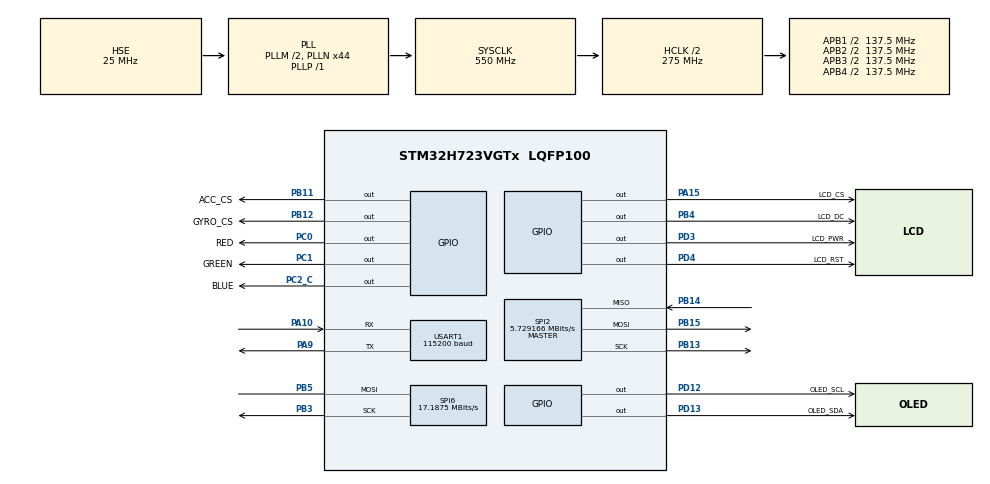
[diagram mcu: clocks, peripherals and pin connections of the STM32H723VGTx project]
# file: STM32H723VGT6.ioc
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CORTEX_M7.CPU_DCache=Enabled
CORTEX_M7.CPU_ICache=Enabled
FREERTOS.Tasks01=defaultTask,24,128,StartDefaultTask,Default,NULL,Dynamic,NULL,NULL
FREERTOS.configENABLE_FPU=1
FREERTOS.configTICK_RATE_HZ=1000
FREERTOS.configTOTAL_HEAP_SIZE=30720
Mcu.Family=STM32H7
Mcu.Name=STM32H723VGTx
Mcu.Package=LQFP100
NVIC.PriorityGroup=NVIC_PRIORITYGROUP_4
NVIC.SPI2_IRQn=true\:5\:0\:false\:false\:true\:true\:true\:true\:true
NVIC.TIM1_UP_IRQn=true\:15\:0\:false\:false\:true\:false\:false\:true\:true
NVIC.TimeBase=TIM1_UP_IRQn
NVIC.TimeBaseIP=TIM1
NVIC.USART1_IRQn=true\:5\:0\:false\:false\:true\:true\:true\:true\:true
PA10.Mode=Asynchronous
PA10.Signal=USART1_RX
PA13(JTMS/SWDIO).Mode=Serial_Wire
PA13(JTMS/SWDIO).Signal=DEBUG_JTMS-SWDIO
PA14(JTCK/SWCLK).Mode=Serial_Wire
PA14(JTCK/SWCLK).Signal=DEBUG_JTCK-SWCLK
PA15(JTDI).GPIO_Label=LCD_CS
PA15(JTDI).GPIO_PuPd=GPIO_PULLUP
PA15(JTDI).Signal=GPIO_Output
PA9.Mode=Asynchronous
PA9.Signal=USART1_TX
PB11.GPIO_Label=ACC_CS
PB11.GPIO_Speed=GPIO_SPEED_FREQ_VERY_HIGH
PB11.PinState=GPIO_PIN_SET
PB11.Signal=GPIO_Output
PB12.GPIO_Label=GYRO_CS
PB12.GPIO_Speed=GPIO_SPEED_FREQ_VERY_HIGH
PB12.PinState=GPIO_PIN_SET
PB12.Signal=GPIO_Output
PB13.GPIO_Speed=GPIO_SPEED_FREQ_VERY_HIGH
PB13.Mode=Full_Duplex_Master
PB13.Signal=SPI2_SCK
PB14.GPIO_Speed=GPIO_SPEED_FREQ_VERY_HIGH
PB14.Mode=Full_Duplex_Master
PB14.Signal=SPI2_MISO
PB15.GPIO_Speed=GPIO_SPEED_FREQ_VERY_HIGH
PB15.Mode=Full_Duplex_Master
PB15.Signal=SPI2_MOSI
PB3(JTDO/TRACESWO).Mode=Simplex_Bidirectional_Master
PB3(JTDO/TRACESWO).Signal=SPI6_SCK
PB4(NJTRST).GPIO_Label=LCD_DC
PB4(NJTRST).GPIO_PuPd=GPIO_PULLUP
PB4(NJTRST).Signal=GPIO_Output
PB5.Mode=Simplex_Bidirectional_Master
PB5.Signal=SPI6_MOSI
PC0.GPIO_Label=RED
PC0.GPIO_PuPd=GPIO_PULLUP
PC0.PinState=GPIO_PIN_SET
PC0.Signal=GPIO_Output
PC1.GPIO_Label=GREEN
PC1.GPIO_PuPd=GPIO_PULLUP
PC1.PinState=GPIO_PIN_SET
PC1.Signal=GPIO_Output
PC2_C.GPIO_Label=BLUE
PC2_C.GPIO_PuPd=GPIO_PULLUP
PC2_C.PinState=GPIO_PIN_SET
PC2_C.Signal=GPIO_Output
PD12.GPIO_Label=OLED_SCL
PD12.GPIO_PuPd=GPIO_PULLUP
PD12.GPIO_Speed=GPIO_SPEED_FREQ_HIGH
PD12.Signal=GPIO_Output
PD13.GPIO_Label=OLED_SDA
PD13.GPIO_PuPd=GPIO_PULLUP
PD13.GPIO_Speed=GPIO_SPEED_FREQ_HIGH
PD13.Signal=GPIO_Output
PD3.GPIO_Label=LCD_PWR
PD3.GPIO_PuPd=GPIO_PULLUP
PD3.Signal=GPIO_Output
PD4.GPIO_Label=LCD_RST
PD4.GPIO_PuPd=GPIO_PULLUP
PD4.Signal=GPIO_Output
PH0-OSC_IN.Mode=HSE-External-Oscillator
PH0-OSC_IN.Signal=RCC_OSC_IN
PH1-OSC_OUT.Mode=HSE-External-Oscillator
PH1-OSC_OUT.Signal=RCC_OSC_OUT
ProjectManager.HeapSize=0x800
ProjectManager.StackSize=0x800
ProjectManager.TargetToolchain=MDK-ARM V5
RCC.ADCFreq_Value=275000000
RCC.APB1Freq_Value=137500000
RCC.APB2Freq_Value=137500000
RCC.APB3Freq_Value=137500000
RCC.APB4Freq_Value=137500000
RCC.CortexFreq_Value=550000000
RCC.D1PPRE=RCC_APB3_DIV2
RCC.D2PPRE1=RCC_APB1_DIV2
RCC.D2PPRE2=RCC_APB2_DIV2
RCC.D3PPRE=RCC_APB4_DIV2
RCC.DIVM1=2
RCC.DIVM2=2
RCC.DIVM3=2
RCC.DIVN1=44
RCC.DIVN2=44
RCC.DIVN3=44
RCC.DIVP1=1
RCC.DIVQ1=3
RCC.HCLKFreq_Value=275000000
RCC.HPRE=RCC_HCLK_DIV2
RCC.HSEState-ClockTree=RCC_HSE_BYPASS
RCC.HSE_VALUE=25000000
RCC.MCO2I2SEnable-ClockTree=true
RCC.PLL2FRACN=0
RCC.PLL3FRACN=0
RCC.PLL3_VCI_Range-AdvancedSettings=RCC_PLL3VCIRANGE_0
RCC.PLL3_VCO_SEL-AdvancedSettings=RCC_PLL3VCOMEDIUM
RCC.PLLFRACN=0
RCC.PLLSourceVirtual=RCC_PLLSOURCE_HSE
RCC.SYSCLKFreq_VALUE=550000000
RCC.SYSCLKSource=RCC_SYSCLKSOURCE_PLLCLK
RCC.USBFreq_Value=183333333.33333334
SPI2.BaudRatePrescaler=SPI_BAUDRATEPRESCALER_32
SPI2.CLKPhase=SPI_PHASE_2EDGE
SPI2.CLKPolarity=SPI_POLARITY_HIGH
SPI2.CalculateBaudRate=5.729166 MBits/s
SPI2.DataSize=SPI_DATASIZE_8BIT
SPI2.Direction=SPI_DIRECTION_2LINES
SPI2.Mode=SPI_MODE_MASTER
SPI2.VirtualType=VM_MASTER
SPI6.BaudRatePrescaler=SPI_BAUDRATEPRESCALER_8
SPI6.CLKPhase=SPI_PHASE_2EDGE
SPI6.CLKPolarity=SPI_POLARITY_HIGH
SPI6.CalculateBaudRate=17.1875 MBits/s
SPI6.DataSize=SPI_DATASIZE_8BIT
SPI6.Direction=SPI_DIRECTION_1LINE
SPI6.Mode=SPI_MODE_MASTER
SPI6.VirtualType=VM_MASTER
USART1.BaudRate=115200
USART1.FIFOMode=FIFOMODE_ENABLE
USART1.VirtualMode-Asynchronous=VM_ASYNC
VP_FREERTOS_VS_CMSIS_V2.Mode=CMSIS_V2
VP_MEMORYMAP_VS_MEMORYMAP.Mode=CurAppReg
VP_SYS_VS_tim1.Mode=TIM1
board=custom

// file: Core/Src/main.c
/* USER CODE BEGIN Header */
/**
  ******************************************************************************
  * @file           : main.c
  * @brief          : Main program body
  ******************************************************************************
  * @attention
  *
  * Copyright (c) 2022 STMicroelectronics.
  * All rights reserved.
  *
  * This software is licensed under terms that can be found in the LICENSE file
  * in the root directory of this software component.
  * If no LICENSE file comes with this software, it is provided AS-IS.
  *
  ******************************************************************************
  */
/* USER CODE END Header */
#include "main.h"
#include "cmsis_os.h"
#include "spi.h"
#include "usart.h"
#include "gpio.h"

/* USER CODE BEGIN Includes */
#include "Headfile.h"
/* USER CODE END Includes */

void SystemClock_Config(void);
void MX_FREERTOS_Init(void);

/* USER CODE BEGIN 0 */
static uint16_t line_buffer[320];

lcd_io lcd_io_desc = {
    .spi = &hspi6,
    .rst = {LCD_RST_GPIO_Port, LCD_RST_Pin, 0},
    .bl  = {LCD_PWR_GPIO_Port, LCD_PWR_Pin, 1},
    .cs  = {LCD_CS_GPIO_Port,  LCD_CS_Pin,  0},
    .dc  = {LCD_DC_GPIO_Port,  LCD_DC_Pin,  0},
    .te  = { /* TE */ }
};

lcd lcd_desc = {
    .io = &lcd_io_desc,
    .line_buffer = line_buffer,
};

float gyro[3], accel[3], temp;
/* USER CODE END 0 */

int main(void)
{

  /* Enable the CPU Cache */

  /* Enable I-Cache---------------------------------------------------------*/
  SCB_EnableICache();

  /* Enable D-Cache---------------------------------------------------------*/
  SCB_EnableDCache();

  /* MCU Configuration--------------------------------------------------------*/

  /* Reset of all peripherals, Initializes the Flash interface and the Systick. */
  HAL_Init();

  /* Configure the system clock */
  SystemClock_Config();

  /* Initialize all configured peripherals */
  MX_GPIO_Init();
  MX_SPI6_Init();
  MX_USART1_UART_Init();
  MX_SPI2_Init();
  /* USER CODE BEGIN 2 */
  OLED_Init();
  lcd_init_dev(&lcd_desc, LCD_1_47_INCH, LCD_ROTATE_90);
  UsartInit();
	uart_send_char('a');
	uart_send_string("asd");
	uart_printf(000);
  lcd_print(&lcd_desc, 0, 20, "> Boring_TECH");
  lcd_print(&lcd_desc, 0, 40, "> IPS LCD 1.47inch 320x172");
  lcd_print(&lcd_desc, 0, 60, "> STM32H723VGT6");
  lcd_print(&lcd_desc, 0, 80, "> 2024/4/1");
			while(BMI088_init())
		{
				;
		}
	BMI088_read(gyro, accel, &temp);
		uart_printf(gyro[0]);
  /* USER CODE END 2 */

  /* Init scheduler */
  osKernelInitialize();  /* Call init function for freertos objects (in cmsis_os2.c) */
  MX_FREERTOS_Init();

  /* Start scheduler */
  osKernelStart();

  /* We should never get here as control is now taken by the scheduler */

  /* Infinite loop */
  /* USER CODE BEGIN WHILE */
  while (1)
  {
    /* FreeRTOS调度器已启动，main()中的循环不应被执行 */
    /* 如果到达这里，说明调度器可能出现了问题 */
    HAL_Delay(1000);
    /* USER CODE END WHILE */

  }
}

void SystemClock_Config(void)
{
  RCC_OscInitTypeDef RCC_OscInitStruct = {0};
  RCC_ClkInitTypeDef RCC_ClkInitStruct = {0};

  /** Supply configuration update enable
  */
  HAL_PWREx_ConfigSupply(PWR_LDO_SUPPLY);

  /** Configure the main internal regulator output voltage
  */
  __HAL_PWR_VOLTAGESCALING_CONFIG(PWR_REGULATOR_VOLTAGE_SCALE0);

  while(!__HAL_PWR_GET_FLAG(PWR_FLAG_VOSRDY)) {}

  /** Initializes the RCC Oscillators according to the specified parameters
  * in the RCC_OscInitTypeDef structure.
  */
  RCC_OscInitStruct.OscillatorType = RCC_OSCILLATORTYPE_HSE;
  RCC_OscInitStruct.HSEState = RCC_HSE_ON;
  RCC_OscInitStruct.PLL.PLLState = RCC_PLL_ON;
  RCC_OscInitStruct.PLL.PLLSource = RCC_PLLSOURCE_HSE;
  RCC_OscInitStruct.PLL.PLLM = 2;
  RCC_OscInitStruct.PLL.PLLN = 44;
  RCC_OscInitStruct.PLL.PLLP = 1;
  RCC_OscInitStruct.PLL.PLLQ = 3;
  RCC_OscInitStruct.PLL.PLLR = 2;
  RCC_OscInitStruct.PLL.PLLRGE = RCC_PLL1VCIRANGE_3;
  RCC_OscInitStruct.PLL.PLLVCOSEL = RCC_PLL1VCOWIDE;
  RCC_OscInitStruct.PLL.PLLFRACN = 0;
  if (HAL_RCC_OscConfig(&RCC_OscInitStruct) != HAL_OK)
  {
    Error_Handler();
  }

  /** Initializes the CPU, AHB and APB buses clocks
  */
  RCC_ClkInitStruct.ClockType = RCC_CLOCKTYPE_HCLK|RCC_CLOCKTYPE_SYSCLK
                              |RCC_CLOCKTYPE_PCLK1|RCC_CLOCKTYPE_PCLK2
                              |RCC_CLOCKTYPE_D3PCLK1|RCC_CLOCKTYPE_D1PCLK1;
  RCC_ClkInitStruct.SYSCLKSource = RCC_SYSCLKSOURCE_PLLCLK;
  RCC_ClkInitStruct.SYSCLKDivider = RCC_SYSCLK_DIV1;
  RCC_ClkInitStruct.AHBCLKDivider = RCC_HCLK_DIV2;
  RCC_ClkInitStruct.APB3CLKDivider = RCC_APB3_DIV2;
  RCC_ClkInitStruct.APB1CLKDivider = RCC_APB1_DIV2;
  RCC_ClkInitStruct.APB2CLKDivider = RCC_APB2_DIV2;
  RCC_ClkInitStruct.APB4CLKDivider = RCC_APB4_DIV2;

  if (HAL_RCC_ClockConfig(&RCC_ClkInitStruct, FLASH_LATENCY_3) != HAL_OK)
  {
    Error_Handler();
  }
}

void HAL_TIM_PeriodElapsedCallback(TIM_HandleTypeDef *htim)
{
  if (htim->Instance == TIM1)
  {
    HAL_IncTick();
  }
}

void Error_Handler(void)
{
  __disable_irq();
  while (1)
  {
  }
}

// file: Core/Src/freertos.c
/* USER CODE BEGIN Header */
/**
 ******************************************************************************
 * File Name          : freertos.c
 * Description        : Code for freertos applications
 ******************************************************************************
 * @attention
 *
 * Copyright (c) 2025 STMicroelectronics.
 * All rights reserved.
 *
 * This software is licensed under terms that can be found in the LICENSE file
 * in the root directory of this software component.
 * If no LICENSE file comes with this software, it is provided AS-IS.
 *
 ******************************************************************************
 */
/* USER CODE END Header */

#include "FreeRTOS.h"
#include "task.h"
#include "main.h"
#include "cmsis_os.h"

/* USER CODE BEGIN Includes */
 #include "BSP_GPIO.h"
#include "Task10Hz.h"
#include "Task100Hz.h"
#include "Task200Hz.h"
#include "Task1000Hz.h"
/* USER CODE END Includes */

/* Definitions for defaultTask */
osThreadId_t defaultTaskHandle;
const osThreadAttr_t defaultTask_attributes = {
  .name = "defaultTask",
  .stack_size = 128 * 4,
  .priority = (osPriority_t) osPriorityNormal,
};

/* USER CODE BEGIN FunctionPrototypes */
/* 任务句柄声明 */
osThreadId_t task10HzHandle;
osThreadId_t task100HzHandle;
osThreadId_t task200HzHandle;
osThreadId_t task1000HzHandle;
/* USER CODE END Variables */
/* Definitions for defaultTask */
osThreadId_t defaultTaskHandle;

/* 10Hz任务属性结构体 */
const osThreadAttr_t task10Hz_attributes = {
  .name = "task10Hz",
  .stack_size = 128 * 4,
  .priority = (osPriority_t)osPriorityBelowNormal,
};

/* 100Hz任务属性结构体 */
const osThreadAttr_t task100Hz_attributes = {
  .name = "task100Hz",
  .stack_size = 128 * 4,
  .priority = (osPriority_t)osPriorityNormal,
};

/* 200Hz任务属性结构体 */
const osThreadAttr_t task200Hz_attributes = {
  .name = "task200Hz",
  .stack_size = 128 * 4,
  .priority = (osPriority_t)osPriorityAboveNormal,
};

/* 1000Hz任务属性结构体 */
const osThreadAttr_t task1000Hz_attributes = {
  .name = "task1000Hz",
  .stack_size = 128 * 4,
  .priority = (osPriority_t)osPriorityHigh,
};

/* Private function prototypes -----------------------------------------------*/
/* USER CODE BEGIN FunctionPrototypes */
void Task10Hz_Function(void);
void Task100Hz_Function(void);
void Task200Hz_Function(void);
void Task1000Hz_Function(void);

/* 任务入口函数声明 */
void StartTask10Hz(void *argument);
void StartTask100Hz(void *argument);
void StartTask200Hz(void *argument);
void StartTask1000Hz(void *argument);

/* USER CODE END FunctionPrototypes */

void StartDefaultTask(void *argument);

void MX_FREERTOS_Init(void); /* (MISRA C 2004 rule 8.1) */

void MX_FREERTOS_Init(void) {

  /* Create the thread(s) */
  /* creation of defaultTask */
  defaultTaskHandle = osThreadNew(StartDefaultTask, NULL, &defaultTask_attributes);

  /* USER CODE BEGIN RTOS_THREADS */
  /* 创建10Hz任务 (100ms周期) - 低优先级 */
  task10HzHandle = osThreadNew(StartTask10Hz, NULL, &task10Hz_attributes);

  /* 创建100Hz任务 (10ms周期) - 普通优先级 */
  task100HzHandle = osThreadNew(StartTask100Hz, NULL, &task100Hz_attributes);

  /* 创建200Hz任务 (5ms周期) - 较高优先级 */
  task200HzHandle = osThreadNew(StartTask200Hz, NULL, &task200Hz_attributes);

  /* 创建1000Hz任务 (1ms周期) - 高优先级，但不是最高 */
  task1000HzHandle = osThreadNew(StartTask1000Hz, NULL, &task1000Hz_attributes);
  /* USER CODE END RTOS_THREADS */

}

void StartDefaultTask(void *argument)
{
  /* USER CODE BEGIN StartDefaultTask */
  /* Infinite loop */
  for (;;)
  {
    /* 默认任务现在只是一个监控任务，低优先级运行 */
    /* 可以在这里添加系统监控、错误处理等功能 */

    /* 每秒执行一次简单的系统检查 */
    osDelay(1000);
  }
  /* USER CODE END StartDefaultTask */
}

/* USER CODE BEGIN Application */

  /**
   * @brief  10Hz任务函数 (每100ms执行一次)
   * @param  argument: Not used
   * @retval None
   */
  void StartTask10Hz(void *argument)
  {
    uint32_t tick_count = osKernelGetTickCount();
    const uint32_t TimeIncrement = 100; // 100ms周期，实现10Hz频率

    /* Infinite loop */
    for(;;)
    {
      LED_R(0);
      LED_G(1);
      LED_B(1);
      Task10Hz_Function();
      tick_count += TimeIncrement;
      osDelayUntil(tick_count);
    }
  }

  /**
   * @brief  100Hz任务函数 (每10ms执行一次)
   * @param  argument: Not used
   * @retval None
   */
  void StartTask100Hz(void *argument)
  {
    uint32_t tick_count = osKernelGetTickCount();
    const uint32_t TimeIncrement = 10; // 10ms周期，实现100Hz频率

    /* Infinite loop */
    for(;;)
    {
      LED_R(1);
      LED_G(0);
      LED_B(1);
      Task100Hz_Function();
      tick_count += TimeIncrement;
      osDelayUntil(tick_count);
    }
  }

  /**
   * @brief  200Hz任务函数 (每5ms执行一次)
   * @param  argument: Not used
   * @retval None
   */
  void StartTask200Hz(void *argument)
  {
    uint32_t tick_count = osKernelGetTickCount();
    const uint32_t TimeIncrement = 5; // 5ms周期，实现200Hz频率

    /* Infinite loop */
    for(;;)
    {
      LED_R(1);
      LED_G(1);
      LED_B(0);
      Task200Hz_Function();
      tick_count += TimeIncrement;
      osDelayUntil(tick_count);
    }
  }

  /**
   * @brief  1000Hz任务函数 (每1ms执行一次)
   * @param  argument: Not used
   * @retval None
   */
  void StartTask1000Hz(void *argument)
  {
    uint32_t tick_count = osKernelGetTickCount();
    const uint32_t TimeIncrement = 1; // 1ms周期，实现1000Hz频率

    /* Infinite loop */
    for(;;)
    {
      LED_R(0);
      LED_G(0);
      LED_B(0);
      Task1000Hz_Function();
      tick_count += TimeIncrement;
      osDelayUntil(tick_count);
    }
  }

  /**
   * @brief  空闲任务钩子函数
   * @note   当系统进入空闲状态时被调用，此时关闭红色LED
   * @param  None
   * @retval None
   */
  void vApplicationIdleHook(void)
  {
    /* 系统空闲时，关闭所有LED */
    LED_R(1);
    LED_G(1);
    LED_B(1);
  }

/* USER CODE END Application */
